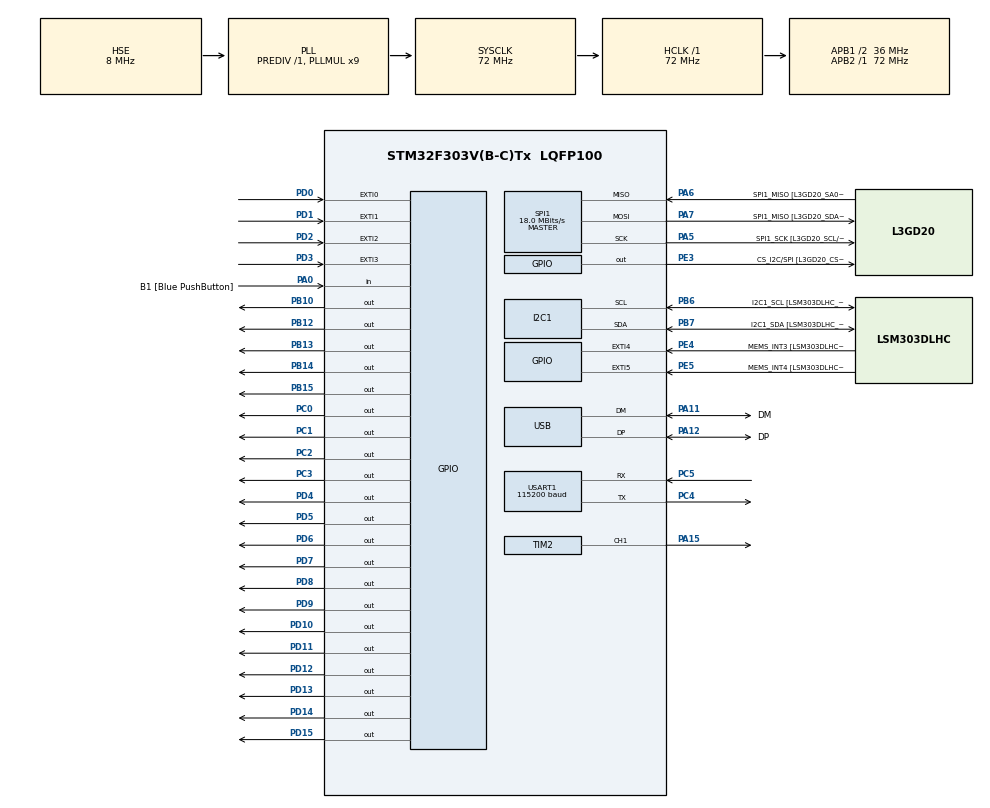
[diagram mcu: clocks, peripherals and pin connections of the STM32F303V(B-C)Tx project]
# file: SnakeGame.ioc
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I2C1.Timing-I2C=0x2000090E
Mcu.Family=STM32F3
Mcu.Name=STM32F303V(B-C)Tx
Mcu.Package=LQFP100
NVIC.EXTI0_IRQn=true\:1\:0\:true\:false\:true\:true\:true\:true
NVIC.EXTI1_IRQn=true\:1\:0\:true\:false\:true\:true\:true\:true
NVIC.EXTI2_TSC_IRQn=true\:1\:0\:true\:false\:true\:true\:true\:true
NVIC.EXTI3_IRQn=true\:1\:0\:true\:false\:true\:true\:true\:true
NVIC.PriorityGroup=NVIC_PRIORITYGROUP_4
NVIC.TIM1_UP_TIM16_IRQn=true\:4\:0\:true\:false\:true\:true\:true\:true
NVIC.TIM3_IRQn=true\:0\:0\:false\:false\:true\:true\:true\:true
NVIC.USART1_IRQn=true\:4\:0\:true\:false\:true\:true\:true\:true
PA0.GPIO_Label=B1 [Blue PushButton]
PA0.Signal=GPIO_Input
PA11.GPIO_Label=DM
PA11.Mode=Device
PA11.Signal=USB_DM
PA12.GPIO_Label=DP
PA12.Mode=Device
PA12.Signal=USB_DP
PA13.GPIO_Label=SWDIO
PA13.Mode=Serial_Wire
PA13.Signal=SYS_JTMS-SWDIO
PA14.GPIO_Label=SWCLK
PA14.Mode=Serial_Wire
PA14.Signal=SYS_JTCK-SWCLK
PA15.Signal=S_TIM2_CH1_ETR
PA5.GPIO_Label=SPI1_SCK [L3GD20_SCL/SPC]
PA5.Mode=Full_Duplex_Master
PA5.Signal=SPI1_SCK
PA6.GPIO_Label=SPI1_MISO [L3GD20_SA0/SDO]
PA6.Mode=Full_Duplex_Master
PA6.Signal=SPI1_MISO
PA7.GPIO_Label=SPI1_MISO [L3GD20_SDA/SDI/SDO]
PA7.Mode=Full_Duplex_Master
PA7.Signal=SPI1_MOSI
PB10.Signal=GPIO_Output
PB12.Signal=GPIO_Output
PB13.Signal=GPIO_Output
PB14.Signal=GPIO_Output
PB15.Signal=GPIO_Output
PB3.GPIO_Label=SWO
PB3.Signal=SYS_JTDO-TRACESWO
PB6.GPIO_Label=I2C1_SCL [LSM303DLHC_SCL]
PB6.GPIO_Pu=GPIO_PULLUP
PB6.Mode=I2C
PB6.Signal=I2C1_SCL
PB7.GPIO_Label=I2C1_SDA [LSM303DLHC_SDA]
PB7.GPIO_Pu=GPIO_PULLUP
PB7.Mode=I2C
PB7.Signal=I2C1_SDA
PC0.Signal=GPIO_Output
PC1.Signal=GPIO_Output
PC14-OSC32_IN.GPIO_Label=OSC32_IN
PC14-OSC32_IN.Signal=RCC_OSC32_IN
PC15-OSC32_OUT.GPIO_Label=OSC32_OUT
PC15-OSC32_OUT.Signal=RCC_OSC32_OUT
PC2.Signal=GPIO_Output
PC3.Signal=GPIO_Output
PC4.Mode=Asynchronous
PC4.Signal=USART1_TX
PC5.Mode=Asynchronous
PC5.Signal=USART1_RX
PD0.GPIO_ModeDefaultEXTI=GPIO_MODE_IT_RISING
PD0.GPIO_PuPd=GPIO_PULLDOWN
PD0.Signal=GPXTI0
PD1.GPIO_ModeDefaultEXTI=GPIO_MODE_IT_RISING
PD1.GPIO_PuPd=GPIO_PULLDOWN
PD1.Signal=GPXTI1
PD10.Signal=GPIO_Output
PD11.Signal=GPIO_Output
PD12.Signal=GPIO_Output
PD13.Signal=GPIO_Output
PD14.Signal=GPIO_Output
PD15.Signal=GPIO_Output
PD2.GPIO_ModeDefaultEXTI=GPIO_MODE_IT_RISING
PD2.GPIO_PuPd=GPIO_PULLDOWN
PD2.Signal=GPXTI2
PD3.GPIO_ModeDefaultEXTI=GPIO_MODE_IT_RISING
PD3.GPIO_PuPd=GPIO_PULLDOWN
PD3.Signal=GPXTI3
PD4.Signal=GPIO_Output
PD5.Signal=GPIO_Output
PD6.Signal=GPIO_Output
PD7.Signal=GPIO_Output
PD8.Signal=GPIO_Output
PD9.Signal=GPIO_Output
PE3.GPIO_Label=CS_I2C/SPI [L3GD20_CS_I2C/SPI]
PE3.Signal=GPIO_Output
PE4.GPIO_Label=MEMS_INT3 [LSM303DLHC_INT1]
PE4.GPIO_ModeDefaultEXTI=GPIO_MODE_EVT_RISING
PE4.Signal=GPXTI4
PE5.GPIO_Label=MEMS_INT4 [LSM303DLHC_INT2]
PE5.GPIO_ModeDefaultEXTI=GPIO_MODE_EVT_RISING
PE5.Signal=GPXTI5
PF0-OSC_IN.GPIO_Label=OSC_IN
PF0-OSC_IN.Mode=HSE-External-Clock-Source
PF0-OSC_IN.Signal=RCC_OSC_IN
PF1-OSC_OUT.GPIO_Label=OSC_OUT
PF1-OSC_OUT.Signal=RCC_OSC_OUT
ProjectManager.HeapSize=0x200
ProjectManager.StackSize=0x400
ProjectManager.TargetToolchain=STM32CubeIDE
RCC.AHBFreq_Value=72000000
RCC.APB1CLKDivider=RCC_HCLK_DIV2
RCC.APB1Freq_Value=36000000
RCC.APB1TimFreq_Value=72000000
RCC.APB2Freq_Value=72000000
RCC.APB2TimFreq_Value=72000000
RCC.CortexFreq_Value=72000000
RCC.HCLKFreq_Value=72000000
RCC.HSE_VALUE=8000000
RCC.HSI_VALUE=8000000
RCC.LSE_VALUE=32768
RCC.PLLMUL=RCC_PLL_MUL9
RCC.PRESCALERUSB=RCC_USBCLKSOURCE_PLL_DIV1_5
RCC.SYSCLKFreq_VALUE=72000000
RCC.SYSCLKSourceVirtual=RCC_SYSCLKSOURCE_PLLCLK
RCC.USBFreq_Value=48000000
RTC.AsynchPrediv=39
RTC.Date=3
RTC.Month=RTC_MONTH_JULY
RTC.SynchPrediv=999
RTC.Year=24
SH.S_TIM2_CH1_ETR.0=TIM2_CH1,PWM Generation1 CH1
SPI1.BaudRatePrescaler=SPI_BAUDRATEPRESCALER_4
SPI1.BaudRatePrescaler-Full_Duplex_Master=SPI_BAUDRATEPRESCALER_2
SPI1.CalculateBaudRate=18.0 MBits/s
SPI1.CalculateBaudRate-Full_Duplex_Master=24.0 MBits/s
SPI1.Direction=SPI_DIRECTION_2LINES
SPI1.Mode=SPI_MODE_MASTER
SPI1.Mode-Full_Duplex_Master=SPI_MODE_MASTER
SPI1.VirtualType=VM_MASTER
TIM1.Period=1
TIM1.Prescaler=479
TIM2.Channel-PWM\ Generation1\ CH1=TIM_CHANNEL_1
TIM3.Period=5
TIM3.Prescaler=4799
USART1.BaudRate=115200
USART1.VirtualMode-Asynchronous=VM_ASYNC
VP_RTC_VS_RTC_Activate.Mode=RTC_Enabled
VP_RTC_VS_RTC_Calendar.Mode=RTC_Calendar
VP_TIM1_VS_ClockSourceINT.Mode=Internal
VP_TIM2_VS_ClockSourceINT.Mode=Internal
VP_TIM3_VS_ClockSourceINT.Mode=Internal
board=STM32F3DISCOVERY

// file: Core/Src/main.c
/* USER CODE BEGIN Header */
/**
 ******************************************************************************
 * @file           : main.c
 * @brief          : Main program body
 ******************************************************************************
 * @attention
 *
 * Copyright (c) 2024 STMicroelectronics.
 * All rights reserved.
 *
 * This software is licensed under terms that can be found in the LICENSE file
 * in the root directory of this software component.
 * If no LICENSE file comes with this software, it is provided AS-IS.
 *
 ******************************************************************************
 */
/* USER CODE END Header */
#include "main.h"

/* USER CODE BEGIN Includes */
#include "LiquidCrystal.h"
#include "stdio.h"
#include "stdlib.h"
#include "time.h"
#include "music_library.h"
/* USER CODE END Includes */

/* USER CODE BEGIN PD */
#define DEBOUNCE_DELAY 350
#define DISPLAY_ON GPIO_PIN_RESET
#define DISPLAY_OFF GPIO_PIN_SET
/* USER CODE END PD */

I2C_HandleTypeDef hi2c1;

RTC_HandleTypeDef hrtc;

SPI_HandleTypeDef hspi1;

TIM_HandleTypeDef htim1;
TIM_HandleTypeDef htim2;
TIM_HandleTypeDef htim3;

UART_HandleTypeDef huart1;

PCD_HandleTypeDef hpcd_USB_FS;

/* USER CODE BEGIN PV */
struct digit {
	int number;
	uint16_t pattern;
	uint16_t anti_pattern;
};

struct RTC_Time {
	int hour;
	int minute;
	int second;
};

struct RTC_Time effect_time;

typedef unsigned char byte;
byte head[4][8] = { { 0x00, 0x00, 0x0E, 0x11, 0x11, 0x1B, 0x11, 0x1F }, { 0x1F,
		0x11, 0x1B, 0x11, 0x11, 0x0E, 0x00, 0x00 }, { 0x1C, 0x12, 0x15, 0x11,
		0x11, 0x15, 0x12, 0x1C }, { 0x07, 0x09, 0x15, 0x11, 0x11, 0x15, 0x09,
		0x07 } };

byte body[8] = { 0x1F, 0x15, 0x17, 0x1D, 0x17, 0x1D, 0x15, 0x1F };

byte apple[8] = { 0x00, 0x08, 0x04, 0x0E, 0x17, 0x1F, 0x1F, 0x0E };

byte wall[8] = { 0x0E, 0x04, 0x04, 0x04, 0x04, 0x04, 0x04, 0x0E };

byte heal[8] = { 0x00, 0x00, 0x0A, 0x1F, 0x1F, 0x0E, 0x04, 0x00 };

byte lucky_box[8] = { 0x00, 0x0A, 0x04, 0x1F, 0x15, 0x1F, 0x15, 0x1F };

const int GAME_WIDTH = 20;
const int GAME_HEIGHT = 4;

int highScore = 0;
int currentScore = 0;

extern int isSfx;

int carrier[] = { 0, 0, 0, 0 };

enum GameState {
	MENU, OPTIONS, GAME, GAMEOVER
};
enum GameState gameState = MENU;

struct Settings {
	int wallCollision;
	int health;
	int speed;
	int soundOn;
	int obstacleCount;
	int gameMode;
	int appleSpawnTime;
};

struct Settings settings;
int currentHealth = 0;
enum OptionsEnumerator {
	ABOUT, SETTINGS, MOD, START, NONE
};

enum OptionsEnumerator optionsEnumerator = ABOUT;
enum OptionsEnumerator currentOption = NONE;

enum Direction {
	UP, DOWN, LEFT, RIGHT
};

enum CollisionMask {
	SNAKE, APPLE, WALL, HEAL, OBSTACLE, BOX, NO_COLLISION
};

enum Effect {
	NOEFFECT, SPEED, SCORE, HEALTH
};

enum Effect effect = NOEFFECT;
enum Direction direction = RIGHT;
enum Direction prevDirection = UP;

int movementCoolDown = 0;

typedef struct {
	int x;
	int y;
} Point;

Point foodPosition;
Point medkit;
Point box;

Point wallPositions[6];

struct Node {
	Point point;
	Point prevPoint;
	struct Node *next;
	struct Node *prev;
};

struct Node *snakeHead;

struct Node* createNode(int x, int y) {
	struct Node *newNode = (struct Node*) malloc(sizeof(struct Node));
	newNode->point.x = x;
	newNode->point.y = y;
	newNode->next = NULL;
	newNode->prev = NULL;
	return newNode;
}

void append(struct Node **head, int x, int y) {
	struct Node *newNode = createNode(x, y);
	if (*head == NULL) {
		*head = newNode;
		return;
	}
	struct Node *temp = *head;
	while (temp->next != NULL) {
		temp = temp->next;
	}
	temp->next = newNode;
	newNode->prev = temp;
}

void deleteTail(struct Node **head) {
	if (*head == NULL)
		return;
	struct Node *temp = *head;
	while (temp->next != NULL) {
		temp = temp->next;
	}
	if (temp->prev != NULL) {
		temp->prev->next = NULL;
	} else {
		*head = NULL;
	}
	free(temp);
}

void deleteSnakeExceptHead(struct Node **head) {
	if (*head == NULL || (*head)->next == NULL)
		return;

	struct Node *current = (*head)->next;
	struct Node *nextNode;

	while (current != NULL) {
		nextNode = current->next;
		free(current);
		current = nextNode;
	}

	(*head)->next = NULL;
}

void updateBody() {
	struct Node *node = snakeHead->next; // Start from the second segment
	setCursor(snakeHead->point.x, snakeHead->point.y);
	write(1); // Draw the head at its new position
	setCursor(node->prev->prevPoint.x, node->prev->prevPoint.y);
	write(0);

	// Move each segment to the position of the previous segment
	while (node != NULL) {
		if (node->next == NULL) {
			setCursor(node->point.x, node->point.y);
			print(" "); // Clear the previous position
		}

		// Save current position before moving
		node->prevPoint.x = node->point.x;
		node->prevPoint.y = node->point.y;

		// Move to the previous segment's previous position
		if (node->prev != NULL) {
			node->point.x = node->prev->prevPoint.x;
			node->point.y = node->prev->prevPoint.y;
		}
		node = node->next;
	}
}

void growSnake() {
	// Add a new segment to the snake at the tail's previous position
	struct Node *tail = snakeHead;
	while (tail->next != NULL) {
		tail = tail->next;
	}
	append(&snakeHead, tail->prevPoint.x, tail->prevPoint.y);
	generateApple();
	currentScore += 1;
	if (settings.soundOn) {
		isSfx = 1;
	}

	if (currentScore < 100) {
		int score[2];
		score[0] = carrier[0];
		score[1] = carrier[1];
		int num = score[0] * 10 + carrier[1];
		if (effect == SCORE)
			num += 2;
		else
			num += 1;
		carrier[0] = num / 10;
		carrier[1] = num % 10;
	}
}

int isPointInSnake(int x, int y) {
	struct Node *temp = snakeHead;
	while (temp != NULL) {
		if (temp->point.x == x && temp->point.y == y) {
			return 1;
		}
		temp = temp->next;
	}
	return 0;
}

int isPointWall(int x, int y) {
	for (int i = 0; i < settings.obstacleCount; i++) {
		if (wallPositions[i].x == x && wallPositions[i].y == y)
			return 1;
	}
	return 0;
}

int isPointApple(int x, int y) {
	if (foodPosition.x == x && foodPosition.y == y) {
		return 1;
	}
	return 0;
}

int isPointBox(int x, int y) {
	if (box.x == x && box.y == y) {
		return 1;
	}
	return 0;
}

int isPointUI(int x, int y) {
	if (y == 0 && (x >= 0 && x <= 14))
		return 1;
	return 0;
}

void generateApple() {
	RTC_TimeTypeDef my_time;
	HAL_RTC_GetTime(&hrtc, &my_time, RTC_FORMAT_BIN);

	setCursor(foodPosition.x, foodPosition.y);
	print(" ");

	srand((my_time.Seconds) + 1 * (my_time.Minutes + 1));
	int x, y;
	Point temp;
	do {
		x = rand() % GAME_WIDTH;
		y = rand() % GAME_HEIGHT;
		temp.x = x;
		temp.y = y;
	} while (isPointInSnake(x, y) || isPointWall(x, y) || isPointBox(x, y)
			|| isCollidingWithHeal(temp) || isPointUI(x, y)); // Ensure apple is not on the snake's body

	foodPosition.x = x;
	foodPosition.y = y;

	// Draw the apple on the game board
	setCursor(foodPosition.x, foodPosition.y);
	write(3);
}

void generateAMedkit() {
	RTC_TimeTypeDef my_time;
	HAL_RTC_GetTime(&hrtc, &my_time, RTC_FORMAT_BIN);

	setCursor(medkit.x, medkit.y);
	print(" ");

	srand((my_time.Seconds) + 1 * (my_time.Minutes + 1));
	int x, y;
	Point temp;
	do {
		x = rand() % GAME_WIDTH;
		y = rand() % GAME_HEIGHT;
		temp.x = x;
		temp.y = y;
	} while (isPointInSnake(x, y) || isPointWall(x, y) || isPointBox(x, y)
			|| isCollidingWithFood(temp) || isPointUI(x, y));

	medkit = temp;

	setCursor(medkit.x, medkit.y);
	write(5);
}

void generateBox() {
	RTC_TimeTypeDef my_time;
	HAL_RTC_GetTime(&hrtc, &my_time, RTC_FORMAT_BIN);

	setCursor(box.x, box.y);
	print(" ");

	srand((my_time.Seconds) + 1 * (my_time.Minutes + 1));
	int x, y;
	Point temp;
	do {
		x = rand() % GAME_WIDTH;
		y = rand() % GAME_HEIGHT;
		temp.x = x;
		temp.y = y;
	} while (isPointInSnake(x, y) || isPointWall(x, y)
			|| isCollidingWithFood(temp) || isPointUI(x, y));

	box = temp;

	setCursor(box.x, box.y);
	write(6);
}

void generateWalls(int maxWalls, int mode) {
	if (maxWalls == 0) {
		return;
	}

	RTC_TimeTypeDef my_time;
	HAL_RTC_GetTime(&hrtc, &my_time, RTC_FORMAT_BIN);

	srand((my_time.Seconds) + 1 * (my_time.Minutes + 1));

	for (int i = 0; i < maxWalls; i++) {
		if (mode == 1) {
			i = rand() % settings.obstacleCount;
		}
		setCursor(wallPositions[i].x, wallPositions[i].y);
		print(" ");

		int x, y;
		do {
			x = rand() % GAME_WIDTH;
			y = rand() % GAME_HEIGHT;
		} while (isPointInSnake(x, y) || isPointApple(x, y) || isPointBox(x, y)
				|| isPointUI(x, y) || isPointWall(x, y));

		wallPositions[i].x = x;
		wallPositions[i].y = y;

		// Draw the apple on the game board
		setCursor(wallPositions[i].x, wallPositions[i].y);
		write(4);
	}
}

void redraw_walls() {
	for (int i = 0; i < settings.obstacleCount; i++) {
		setCursor(wallPositions[i].x, wallPositions[i].y);
		write(4);
	}
}

void move_in_direction(enum Direction dir) {
	// Update snake head's previous position
	Point temp = snakeHead->point;
	snakeHead->prevPoint = snakeHead->point;

	// Update snake head's position based on direction
	switch (dir) {
	case UP:
		if (prevDirection != DOWN) {
			snakeHead->point.y -= 1;
			if (dir != prevDirection)
				createChar(1, head[0]);
		}
		break;
	case DOWN:
		if (prevDirection != UP) {
			snakeHead->point.y += 1;
			if (dir != prevDirection)
				createChar(1, head[1]);
		}
		break;
	case RIGHT:
		if (prevDirection != LEFT) {
			snakeHead->point.x += 1;
			if (dir != prevDirection)
				createChar(1, head[2]);
		}
		break;
	case LEFT:
		if (prevDirection != RIGHT) {
			snakeHead->point.x -= 1;
			if (dir != prevDirection)
				createChar(1, head[3]);
		}
		break;
	}

	// Update the current direction
	if (prevDirection != dir)
		prevDirection = dir;

	// Detect collision
	enum CollisionMask collision = CollisionDetector();

	// Handle collision based on its type
	switch (collision) {
	case WALL:
		// Handle wall collision

		if (snakeHead->point.x < 0) {
			snakeHead->point.x = GAME_WIDTH - 1;
		} else if (snakeHead->point.x >= GAME_WIDTH) {
			snakeHead->point.x = 0;
		} else if (snakeHead->point.y < 0) {
			snakeHead->point.y = GAME_HEIGHT - 1;
		} else if (snakeHead->point.y >= GAME_HEIGHT) {
			snakeHead->point.y = 0;
		}
		if (settings.wallCollision) {
			if (currentHealth == 1) {
				gameover(); // Assume this function handles game over scenario
			} else {
				if (settings.soundOn) {
					isSfx = 2;
				}
				currentHealth--;
			}
		}
		break;
	case OBSTACLE:
		redraw_walls();
		if (currentHealth == 1) {
			gameover(); // Assume this function handles game over scenario
		} else {
			if (settings.soundOn) {
				isSfx = 2;
			}
			currentHealth--;
			direction = change_direction(temp);
			move_in_direction(direction);
			return;
		}
		break;
	case SNAKE:
		if (settings.soundOn) {
			isSfx = 2;
		}
		if (currentHealth == 1) {
			gameover(); // Assume this function handles game over scenario
		} else {
			currentHealth--;
			direction = change_direction(temp);
			move_in_direction(direction);
			return;
		}
		break;
	case APPLE:
		// Handle apple collision (e.g., grow the snake, update score)
		if (movementCoolDown < 0)
			movementCoolDown = 0;
		growSnake();
		break;
	case HEAL:
		if (currentHealth < 9) {
			currentHealth++;
			if (settings.soundOn) {
				isSfx = 1;
			}
		}
		medkit.x = -1;
		medkit.y = -1;
		break;
	case BOX:
		if (settings.soundOn) {
			isSfx = 1;
		}
		RTC_TimeTypeDef my_time;
		HAL_RTC_GetTime(&hrtc, &my_time, RTC_FORMAT_BIN);

		effect_time.hour = my_time.Hours;
		effect_time.minute = my_time.Minutes;
		effect_time.second = my_time.Seconds;

		srand((my_time.Seconds) + 1 * (my_time.Minutes + 1));
		int random = 0;
		do {
			random = rand() % 4;
		} while (random == 0);

		effect = random;
		if (effect == HEALTH) {
			if (currentHealth < 9) {
				currentHealth++;
			}
			effect = NOEFFECT;
		}

		box.x = -1;
		box.y = -1;

		break;
	default:
		break;
	}

// Update the snake's body
	updateBody();
}

int change_direction(Point prev) {
	Point temp;
	switch (prevDirection) {
	case UP:
	case DOWN:
		if (!isPointWall(snakeHead->point.x + 1, snakeHead->point.y)) {
			temp = prev;
			temp.x += 1;
			if (!isCollidingWithSelf(temp)) {
				snakeHead->point = prev;
				return RIGHT;
			}
		}
		if (!isPointWall(snakeHead->point.x - 1, snakeHead->point.y)) {
			temp = prev;
			temp.x -= 1;
			if (!isCollidingWithSelf(temp)) {
				snakeHead->point = prev;
				return LEFT;
			}
		}
		break;

	case RIGHT:
	case LEFT:
		if (!isPointWall(snakeHead->point.x, snakeHead->point.y - 1)) {
			temp = prev;
			temp.y -= 1;
			if (!isCollidingWithSelf(temp)) {
				snakeHead->point = prev;
				return UP;
			}
		}
		if (!isPointWall(snakeHead->point.x, snakeHead->point.y + 1)) {
			temp = prev;
			temp.y += 1;
			if (!isCollidingWithSelf(temp)) {
				snakeHead->point = prev;
				return DOWN;
			}
		}
		break;
	}
	gameover();
	return RIGHT;
}

int isCollidingWithWall(Point point) {
	return (point.x < 0 || point.x >= GAME_WIDTH)
			|| (point.y < 0 || point.y >= GAME_HEIGHT);
}

int isCollidingWithSelf(Point point) {
	struct Node *temp = snakeHead->next; // Skip the head
	while (temp != NULL) {
		if (temp->point.x == point.x && temp->point.y == point.y) {
			return 1;
		}
		temp = temp->next;
	}
	return 0;
}

int isCollidingWithFood(Point point) {
	return point.x == foodPosition.x && point.y == foodPosition.y;
}

int isCollidingWithHeal(Point point) {
	return point.x == medkit.x && point.y == medkit.y;
}
int isCollidingWithObstacle(Point point) {
	for (int i = 0; i < settings.obstacleCount; i++) {
		if (point.x == wallPositions[i].x && point.y == wallPositions[i].y) {
			return 1;
		}
	}
	return 0;
}

int CollisionDetector() {
	enum CollisionMask collision = NO_COLLISION;

	if (isCollidingWithWall(snakeHead->point)) {
		collision = WALL;
	} else if (isCollidingWithSelf(snakeHead->point)) {
		collision = SNAKE;
	} else if (isCollidingWithFood(snakeHead->point)) {
		collision = APPLE;
	} else if (isCollidingWithHeal(snakeHead->point)) {
		collision = HEAL;
	} else if (isCollidingWithObstacle(snakeHead->point)) {
		collision = OBSTACLE;
	} else if (isPointBox(snakeHead->point.x, snakeHead->point.y)) {
		collision = BOX;
	}

	return collision;
}

int game_ready = 0;
int frame = 0;
int prev_frame = 0;

struct RTC_Time start_time;
struct RTC_Time speed_increase_time;
struct RTC_Time apple_spawn_time;
struct RTC_Time heal_spawn_time;
struct RTC_Time heal_despawn_time;
struct RTC_Time box_spawn_time;
struct RTC_Time box_despawn_time;
struct RTC_Time wall_spawn_time;

int game_paused = 0;
int paused = 0;
int is_dead = 0;
int in_menu = 1;
int medkitSpawned = 0;
int boxSpawned = 0;

//Seven-Segment
int index = 0;
uint16_t led[4];
struct digit digits[10];

extern struct Dictionary *playlist;
extern char **playlistOrder;
int playedCount = 0, currentMusic = 0, adc_select = 0;

extern volatile uint16_t volume;
struct Tone *melody;

enum ProgramMode {
	Shuffle, Liner
};
enum ProgramMode programMode = Liner;
/* USER CODE END PV */

void SystemClock_Config(void);
static void MX_GPIO_Init(void);
static void MX_I2C1_Init(void);
static void MX_SPI1_Init(void);
static void MX_USB_PCD_Init(void);
static void MX_TIM1_Init(void);
static void MX_TIM2_Init(void);
static void MX_RTC_Init(void);
static void MX_USART1_UART_Init(void);
static void MX_TIM3_Init(void);
/* USER CODE BEGIN PFP */

int compareStrings(const char *str1, const uint8_t *str2, int n) {
	for (int i = 0; i < n; i++) {
		if (str1[i] != str2[i]) {
			return 0;
		}
	}
	return 1;
}

int setting_threshold = 0;

char done[4] = "done";

char username[15];

uint8_t data[100];
uint8_t d;
uint8_t i;

void set_sound(int value) {
	if (value >= 0 && value <= 1) {
		settings.soundOn = value;
		char ack[] = "Sound setting updated\n";
		HAL_UART_Transmit_IT(&huart1, (uint8_t*) ack, strlen(ack));
	} else {
		char ack[] = "Invalid sound value\n";
		HAL_UART_Transmit_IT(&huart1, (uint8_t*) ack, strlen(ack));
	}
}

void set_health(int value) {
	if (value >= 1 && value <= 6) {
		settings.health = value;
		char ack[] = "Health setting updated\n";
		HAL_UART_Transmit_IT(&huart1, (uint8_t*) ack, strlen(ack));
	} else {
		char ack[] = "Invalid health value\n";
		HAL_UART_Transmit_IT(&huart1, (uint8_t*) ack, strlen(ack));
	}
}

void set_obstacle_count(int value) {
	if (value >= 0 && value <= 6) {
		settings.obstacleCount = value;
		char ack[] = "Obstacle count updated\n";
		HAL_UART_Transmit_IT(&huart1, (uint8_t*) ack, strlen(ack));
	} else {
		char ack[] = "Invalid obstacle count value\n";
		HAL_UART_Transmit_IT(&huart1, (uint8_t*) ack, strlen(ack));
	}
}

void set_speed(int value) {
	if (value >= 1 && value <= 3) {
		settings.speed = value;
		char ack[] = "Speed setting updated\n";
		HAL_UART_Transmit_IT(&huart1, (uint8_t*) ack, strlen(ack));
	} else {
		char ack[] = "Invalid speed value\n";
		HAL_UART_Transmit_IT(&huart1, (uint8_t*) ack, strlen(ack));
	}
}

void set_game_mode(int value) {
	if (value >= 1 && value <= 3) {
		settings.gameMode = value;
		char ack[] = "Game mode updated\n";
		HAL_UART_Transmit_IT(&huart1, (uint8_t*) ack, strlen(ack));
	} else {
		char ack[] = "Invalid game mode value\n";
		HAL_UART_Transmit_IT(&huart1, (uint8_t*) ack, strlen(ack));
	}
}

void set_username(const char *new_username) {
	strncpy(username, new_username, sizeof(username) - 1);
	username[sizeof(username) - 1] = '\0';
	char ack[] = "Username updated\n";
	HAL_UART_Transmit_IT(&huart1, (uint8_t*) ack, strlen(ack));
}

void HAL_UART_RxCpltCallback(UART_HandleTypeDef *huart) {
	if (huart->Instance == USART1) {
		HAL_UART_Receive_IT(&huart1, &d, 1);
		data[i++] = d;
		if (d == '\n') {
			data[i] = '\0';
			char *command = strtok((char*) data, "(");
			char *value = strtok(NULL, ")");

			if (command && value) {
				if (gameState == OPTIONS && currentOption == SETTINGS
						|| currentOption == MOD) {
					if (currentOption == OPTIONS) {
						if (strcmp(command, "set_name") == 0) {
							set_username(value);
						} else if (strcmp(command, "set_sound") == 0) {
							set_sound(atoi(value));
							char sn[16];
							i = settings.soundOn;
							snprintf(sn, sizeof(sn), "1-SFX         %d", i);
							setCursor(4, 2);
							print(sn);
						} else if (strcmp(command, "set_health") == 0) {
							set_health(atoi(value));
							char hp[16];
							int i = settings.health;
							snprintf(hp, sizeof(hp), "1-Health      %d", i);
							setCursor(4, 0);
							print(hp);
						} else if (strcmp(command, "set_obstacle_count") == 0) {
							set_obstacle_count(atoi(value));
							setCursor(4, 3);
							char wl[16];
							i = settings.obstacleCount;
							snprintf(wl, sizeof(wl), "1-Wall Count  %d", i);
							print(wl);
						} else if (strcmp(command, "set_speed") == 0) {
							set_speed(atoi(value));
							char sp[16];
							i = settings.speed;
							snprintf(sp, sizeof(sp), "1-Speed       %d", i);
							setCursor(4, 1);
							print(sp);
						} else if (strcmp(command, "set_game_mode") == 0) {
							set_game_mode(atoi(value));
							char sp[16];
							int i = settings.gameMode;
							snprintf(sp, sizeof(sp), "1-Game Mode   %d", i);
							setCursor(2, 1);
							print(sp);
						}
					}
				} else {
					char ack[] = "ERROR\n";
					HAL_UART_Transmit_IT(&huart1, (uint8_t*) ack, strlen(ack));
					i = 0;
					return;
				}
			}

			i = 0; // Reset the buffer index
		}
	}
}
void HAL_TIM_PeriodElapsedCallback(TIM_HandleTypeDef *htim) {
	if (htim->Instance == TIM1) {
		if (game_ready) {
			if (game_paused) {
				game_paused = 0;
				if (!paused) {
					paused = 1;
					setCursor(0, 0);
					print("II ");
				} else {
					paused = 0;
				}
			}

			if (!paused) {

				RTC_TimeTypeDef my_time;
				HAL_RTC_GetTime(&hrtc, &my_time, RTC_FORMAT_BIN);
				struct RTC_Time temp;
				temp.hour = my_time.Hours;
				temp.minute = my_time.Minutes;
				temp.second = my_time.Seconds;

				if (settings.gameMode == 3) {

					int diffrance = calculate_time_difference(
							speed_increase_time, temp);
					if (diffrance > 5) {
						movementCoolDown -= 100;
						speed_increase_time.hour = my_time.Hours;
						speed_increase_time.minute = my_time.Minutes;
						speed_increase_time.second = my_time.Seconds;
					}

				}

				if (currentScore > highScore)
					highScore = currentScore;

				int movementFactor = 0;
				if (effect == SPEED)
					movementFactor = 500;

				if (frame - prev_frame > movementCoolDown - movementFactor) {
					move_in_direction(direction);
					prev_frame = frame;
					char hp[4];
					sprintf(hp, "HP%d", currentHealth);
					setCursor(0, 0);
					print(hp);

					if (effect != NOEFFECT) {
						setCursor(3, 0);
						if (effect == SPEED) {
							print(">>");
						} else if (effect == SCORE) {
							print("2X");
						}

						if (calculate_time_difference(effect_time, temp) > 10) {
							effect = NOEFFECT;
							setCursor(3, 0);
							print("  ");
						}
					}

					uint32_t current_tick = HAL_GetTick();
				}
				if (calculate_time_difference(wall_spawn_time, temp) > 30) {
					generateWalls(1, 1);
					wall_spawn_time.hour = my_time.Hours;
					wall_spawn_time.minute = my_time.Minutes;
					wall_spawn_time.second = my_time.Seconds;
				}

				if (calculate_time_difference(apple_spawn_time, temp)
						> settings.appleSpawnTime) {
					apple_spawn_time.hour = my_time.Hours;
					apple_spawn_time.minute = my_time.Minutes;
					apple_spawn_time.second = my_time.Seconds;
					generateApple();
				}
				if (calculate_time_difference(heal_spawn_time, temp) > 10) {
					if (!medkitSpawned) {
						generateAMedkit();
						medkitSpawned = 1;
						heal_despawn_time.hour = my_time.Hours;
						heal_despawn_time.minute = my_time.Minutes;
						heal_despawn_time.second = my_time.Seconds;
					}

					if (calculate_time_difference(heal_despawn_time, temp)
							> 5) {
						medkitSpawned = 0;

						setCursor(medkit.x, medkit.y);
						print(" ");
						medkit.x = -1;
						medkit.y = -1;

						heal_spawn_time.hour = my_time.Hours;
						heal_spawn_time.minute = my_time.Minutes;
						heal_spawn_time.second = my_time.Seconds;

					}
				}

				if (calculate_time_difference(box_spawn_time, temp) > 60) {
					if (!boxSpawned) {
						generateBox();
						boxSpawned = 1;
						box_despawn_time.hour = my_time.Hours;
						box_despawn_time.minute = my_time.Minutes;
						box_despawn_time.second = my_time.Seconds;
					}

					if (calculate_time_difference(box_despawn_time, temp)
							> 15) {
						boxSpawned = 0;

						setCursor(box.x, box.y);
						print(" ");
						box.x = -1;
						box.y = -1;

						box_spawn_time.hour = my_time.Hours;
						box_spawn_time.minute = my_time.Minutes;
						box_spawn_time.second = my_time.Seconds;

					}
				}

				int num = calculate_time_difference(start_time, temp);
				if (num > 99) {
					start_time.hour = my_time.Hours;
					start_time.minute = my_time.Minutes;
					start_time.second = my_time.Seconds;
					num = 0;
				}
				carrier[3] = num % 10;
				carrier[2] = num / 10;
				frame++;
			}

			if (gameState == MENU) {
				clear();
				menu();
				return;
			} else if (game_ready == 0) {
				clear();
				gameover();
			}
		}

		if (gameState == OPTIONS) {
			if (currentOption == ABOUT) {
				RTC_TimeTypeDef my_time;
				HAL_RTC_GetTime(&hrtc, &my_time, RTC_FORMAT_BIN);
				RTC_DateTypeDef my_date;
				HAL_RTC_GetDate(&hrtc, &my_date, RTC_FORMAT_BIN);

				char time_string[20];
				int hour = my_time.Hours;
				int min = my_time.Minutes;
				int sec = my_time.Seconds;

				char date_string[20];
				int year = my_date.Year;
				int month = my_date.Month;
				int date = my_date.Date;

				snprintf(time_string, sizeof(time_string),
						"TIME(%02d:%02d:%02d)", hour, min, sec);
				snprintf(date_string, sizeof(date_string),
						"DATE(%02d:%02d:%02d)", year, month, date);
				setCursor(3, 2);
				print(date_string);
				setCursor(3, 3);
				print(time_string);
				if (currentOption == NONE)
					show_options();
			}

		}
	} else if (htim->Instance == TIM3) {
		static int index = 0;
		if (index > 3) {
			init_display();
			index = 0;
		}
		display_number(index, carrier[index]);
		index++;
	}
}

/* USER CODE END PFP */

/* USER CODE BEGIN 0 */

void display_number(int led_flag, int _number) {
	HAL_GPIO_WritePin(GPIOD,
	GPIO_PIN_4 | GPIO_PIN_5 | GPIO_PIN_6 | GPIO_PIN_7, GPIO_PIN_SET);
	HAL_GPIO_WritePin(GPIOD, led[led_flag], DISPLAY_ON);
	if (led_flag == 1)
		HAL_GPIO_WritePin(GPIOB, GPIO_PIN_10, GPIO_PIN_SET);
	else {
		HAL_GPIO_WritePin(GPIOB, GPIO_PIN_10, GPIO_PIN_RESET);
	}
	if (_number != 0) {
		HAL_GPIO_WritePin(GPIOB, digits[_number].pattern, GPIO_PIN_SET);
	}
	HAL_GPIO_WritePin(GPIOB, digits[_number].anti_pattern, GPIO_PIN_RESET);
}

void init_display() {
	HAL_GPIO_WritePin(GPIOD,
	GPIO_PIN_4 | GPIO_PIN_5 | GPIO_PIN_6 | GPIO_PIN_7, GPIO_PIN_SET);
	HAL_GPIO_WritePin(GPIOB,
	GPIO_PIN_10, GPIO_PIN_SET);
}

int digit_count(int val) {
	if (val == 0)
		return 1;
	int size = 0;
	int temp = val;

	while (temp > 0) {
		temp /= 10;
		size++;
	}
	return size;
}

void extract_int_to_carrier(int val) {
	int i;
	i = digit_count(val) - 1;

	while (val > 0) {
		carrier[i--] = val % 10;
		val /= 10;
	}
}

int array_to_number(int *array, int size) {
	int number = 0;
	for (int i = 0; i < size; i++) {
		number = number * 10 + array[i];
	}
	return number;
}

int generate_random_int(int limit) {
	int random_number;
	return random_number = rand() % limit;
}

void set_music(int num) {
	int toneCount;
	struct DictionaryNode *node;
	melody = lookup(playlist, playlistOrder[num - 1], &toneCount, &node);
	Change_Melody(melody, toneCount);
	currentMusic = num;
	playedCount = num;
	unsetBlacklisted(node);
}

int choice_indx = -1;
void increment_choice() {
	if (currentOption == NONE) {
		setCursor(3, optionsEnumerator++);
		print(" ");
		if (optionsEnumerator > 3)
			optionsEnumerator = 0;
		setCursor(3, optionsEnumerator);
		write(2);
	} else {
		if (currentOption == SETTINGS) {
			handle_sub_menu(3, 1);
		}
	}

}

void handle_sub_menu(int higherBound, int modifier) {
	if (modifier > 0) {
		setCursor(3, choice_indx++);
		print(" ");
		if (choice_indx > higherBound)
			choice_indx = 0;
		setCursor(3, choice_indx);
		write(2);
	} else {
		setCursor(3, choice_indx--);
		print(" ");
		if (choice_indx < 0)
			choice_indx = higherBound;
		setCursor(3, choice_indx);
		write(2);
	}
}

void decrement_choice() {
	if (currentOption == NONE) {
		setCursor(3, optionsEnumerator--);
		print(" ");
		if (optionsEnumerator == 255)
			optionsEnumerator = 3;
		setCursor(3, optionsEnumerator);
		write(2);
	} else {
		if (currentOption == SETTINGS) {
			handle_sub_menu(3, -1);
		}

	}
}

void handle_menu_choice(int modifier) {
	currentOption = optionsEnumerator;

	switch (currentOption) {
	case ABOUT:
		clear();
		setCursor(3, 0);
		print("Yasin Shabani");
		setCursor(3, 1);
		print("Amir Shariati");
		break;

	case SETTINGS:
		switch (choice_indx) {
		case 0:
			if ((modifier < 0 && settings.health > 1)
					|| (modifier > 0 && settings.health < 6)) {
				settings.health += modifier;
				char hp[16];
				int i = settings.health;
				snprintf(hp, sizeof(hp), "1-Health      %d", i);
				setCursor(4, 0);
				print(hp);
			}
			break;
		case 1:
			if ((modifier < 0 && settings.speed > 1)
					|| (modifier > 0 && settings.speed < 3)) {
				settings.speed += modifier;
				char sp[16];
				i = settings.speed;
				snprintf(sp, sizeof(sp), "1-Speed       %d", i);
				setCursor(4, 1);
				print(sp);
			}
			break;
		case 2:
			if (modifier < 0) {
				settings.soundOn = 0;
			} else {
				settings.soundOn = 1;
			}
			char sn[16];
			i = settings.soundOn;
			snprintf(sn, sizeof(sn), "1-SFX         %d", i);
			setCursor(4, 2);
			print(sn);
			break;

		case 3:
			if ((modifier < 0 && settings.obstacleCount > 1)
					|| (modifier > 0 && settings.obstacleCount < 6)) {
				settings.obstacleCount += modifier;
				setCursor(4, 3);
				char wl[16];
				i = settings.obstacleCount;
				snprintf(wl, sizeof(wl), "1-Wall Count  %d", i);
				print(wl);
			}
		default:
			break;
		}

		if (choice_indx == -1) {
			char hp[16];
			int i = settings.health;
			snprintf(hp, sizeof(hp), "1-Health      %d", i);
			clear();
			setCursor(4, 0);
			print(hp);
			setCursor(4, 1);
			char sp[16];
			i = settings.speed;
			snprintf(sp, sizeof(sp), "1-Speed       %d", i);
			print(sp);
			setCursor(4, 2);
			char sn[16];
			i = settings.speed;
			snprintf(sn, sizeof(sn), "1-SFX         %d", i);
			print(sn);
			setCursor(4, 3);
			char wl[16];
			i = settings.obstacleCount;
			snprintf(wl, sizeof(wl), "1-Wall Count  %d", i);
			print(wl);
			choice_indx = 0;
		}
		break;

	case MOD:
		if (choice_indx == -1) {
			clear();
			char sp[16];
			int i = settings.gameMode;
			snprintf(sp, sizeof(sp), "1-Game Mode   %d", i);
			setCursor(2, 1);
			print(sp);
			choice_indx = 0;
		} else {
			if ((modifier < 0 && settings.gameMode > 1)
					|| (modifier > 0 && settings.gameMode < 3)) {
				settings.gameMode += modifier;
				char sp[16];
				int i = settings.gameMode;
				snprintf(sp, sizeof(sp), "1-Game Mode   %d", i);
				setCursor(2, 1);
				print(sp);
			}
		}
		break;

	case START:
		start_game();
		break;
	}
}

void show_options() {
	createChar(0, body);
	createChar(3, apple);
	createChar(4, wall);
	createChar(5, heal);
	createChar(6, lucky_box);

	choice_indx = -1;
	currentOption = NONE;
	optionsEnumerator = ABOUT;
	clear();
	setCursor(4, 0);
	print("1-About Us");
	setCursor(4, 1);
	print("2-Settings");
	setCursor(4, 2);
	print("3-Game Mode");
	setCursor(4, 3);
	print("4-Start Game");
//create arrow
	byte arrow[8] = { 0x00, 0x00, 0x04, 0x02, 0x1F, 0x02, 0x04, 0x00 };
	createChar(2, arrow);
	gameState = OPTIONS;
}

void onDeath() {
    struct Node *current = snakeHead;
    while (current != NULL) {
        setCursor(current->point.x, current->point.y);
        print(" ");
        current = current->next;
        HAL_Delay(50);
    }
}

void gameover() {
	onDeath();

	if (settings.soundOn) {
		isSfx = 3;
	}

	game_ready = 0;
	is_dead = 1;
	volume = 1;
	int score = currentScore;
	frame = 0;

	RTC_TimeTypeDef my_time;
	HAL_RTC_GetTime(&hrtc, &my_time, RTC_FORMAT_BIN);

	clear();

	char msg[20];
	sprintf(msg, "Score: %d", score);
	setCursor(2, 1);
	print(msg);
	setCursor(2, 2);
	print(username);

	setCursor(14, 1);
	print("GAME");
	setCursor(14, 2);
	print("OVER");
	set_music(6);

	char time_string[20];
	int hour = my_time.Hours;
	int min = my_time.Minutes;
	int sec = my_time.Seconds;
	snprintf(time_string, sizeof(time_string), "DIED AT (%02d:%02d:%02d)\n",
			hour, min, sec);

	HAL_UART_Transmit(&huart1, time_string, 20, HAL_MAX_DELAY);

}

void start_game() {
// Reset game-specific variables
	for (int i = 0; i < 4; i++) {
		carrier[i] = 0;
	}
	effect = NOEFFECT;
	currentHealth = settings.health;
	currentScore = 0;
	volume = 1;
	set_music(3);
	in_menu = 0;
	is_dead = 0;
	game_paused = 0;
	paused = 0;
	frame = settings.appleSpawnTime;
	prev_frame = 0;
	direction = RIGHT;
	prevDirection = UP;
	box.x = -1;
	box.y = -1;
	medkit.x = -1;
	medkit.y = -1;

// Set movement cooldown based on speed setting
	if (settings.speed == 1) {
		movementCoolDown = 2000;
		settings.appleSpawnTime = 7;
	} else if (settings.speed == 2) {
		movementCoolDown = 1000;
		settings.appleSpawnTime = 5;
	} else if (settings.speed == 3) {
		movementCoolDown = 50;
		settings.appleSpawnTime = 3;
	}
	frame = settings.appleSpawnTime;

	if (settings.gameMode == 1) {
		settings.wallCollision = 0;
	} else if (settings.gameMode == 2) {
		settings.wallCollision = 1;
	} else if (settings.gameMode == 3) {
		settings.wallCollision = 0;
	}

// Initialize the snake
	deleteSnakeExceptHead(&snakeHead);
	snakeHead = createNode(5, 0);
	append(&snakeHead, 4, 0);
	append(&snakeHead, 3, 0);
	append(&snakeHead, 2, 0);
	append(&snakeHead, 1, 0);

// Generate the first apple
	generateApple();

// Clear the display and reset game state
	clear();
	currentOption = NONE;
	optionsEnumerator = ABOUT;
	gameState = GAME;
	createChar(1, head[2]);

// Indicate the game is ready
	game_ready = 1;
	RTC_TimeTypeDef my_time;
	HAL_RTC_GetTime(&hrtc, &my_time, RTC_FORMAT_BIN);
	start_time.hour = my_time.Hours;
	start_time.minute = my_time.Minutes;
	start_time.second = my_time.Seconds;

	speed_increase_time = start_time;
	apple_spawn_time.hour = my_time.Hours;
	apple_spawn_time.minute = my_time.Minutes;
	apple_spawn_time.second = my_time.Seconds + 7;

	heal_despawn_time = start_time;
	heal_spawn_time = start_time;
	box_spawn_time = start_time;
	box_despawn_time = start_time;
	wall_spawn_time = start_time;

// Draw the initial apple position
	generateWalls(settings.obstacleCount, 0);
	generateApple();
}

void menu() {
	for (int i = 0; i < 4; i++) {
		carrier[i] = 0;
	}
	game_ready = 0;
	paused = 0;
	volume = 1;
	in_menu = 1;
	is_dead = 1;
	currentOption = NONE;
	optionsEnumerator = ABOUT;
	gameState = MENU;
	LiquidCrystal(GPIOD, GPIO_PIN_8, GPIO_PIN_9, GPIO_PIN_10, GPIO_PIN_11,
	GPIO_PIN_12, GPIO_PIN_13, GPIO_PIN_14);
	begin(20, 4);
	setCursor(4, 1);
	print("HONEST SNAKE");
	createChar(1, head[1]);
	setCursor(10, 2);
	write(1);
	set_music(1);

}

int to_seconds(const struct RTC_Time time) {
	return time.hour * 3600 + time.minute * 60 + time.second;
}

int calculate_time_difference(const struct RTC_Time start,
		const struct RTC_Time end) {
	int start_seconds = to_seconds(start);
	int end_seconds = to_seconds(end);
	return end_seconds - start_seconds;
}

/* USER CODE END 0 */

int main(void) {
	/* USER CODE BEGIN 1 */
	struct digit _digits[10];
	_digits[0].number = 0;
	_digits[0].anti_pattern = GPIO_PIN_12 | GPIO_PIN_13 | GPIO_PIN_14
			| GPIO_PIN_15;

	_digits[1].number = 1;
	_digits[1].pattern = GPIO_PIN_12;
	_digits[1].anti_pattern = GPIO_PIN_13 | GPIO_PIN_14 | GPIO_PIN_15;

	_digits[2].number = 2;
	_digits[2].pattern = GPIO_PIN_13;
	_digits[2].anti_pattern = GPIO_PIN_12 | GPIO_PIN_14 | GPIO_PIN_15;

	_digits[3].number = 3;
	_digits[3].pattern = GPIO_PIN_12 | GPIO_PIN_13;
	_digits[3].anti_pattern = GPIO_PIN_14 | GPIO_PIN_15;

	_digits[4].number = 4;
	_digits[4].pattern = GPIO_PIN_14;
	_digits[4].anti_pattern = GPIO_PIN_12 | GPIO_PIN_13 | GPIO_PIN_15;

	_digits[5].number = 5;
	_digits[5].pattern = GPIO_PIN_12 | GPIO_PIN_14;
	_digits[5].anti_pattern = GPIO_PIN_13 | GPIO_PIN_15;

	_digits[6].number = 6;
	_digits[6].pattern = GPIO_PIN_13 | GPIO_PIN_14;
	_digits[6].anti_pattern = GPIO_PIN_12 | GPIO_PIN_15;

	_digits[7].number = 7;
	_digits[7].pattern = GPIO_PIN_12 | GPIO_PIN_13 | GPIO_PIN_14;
	_digits[7].anti_pattern = GPIO_PIN_15;

	_digits[8].number = 8;
	_digits[8].pattern = GPIO_PIN_15;
	_digits[8].anti_pattern = GPIO_PIN_12 | GPIO_PIN_13 | GPIO_PIN_14;

	_digits[9].number = 9;
	_digits[9].pattern = GPIO_PIN_12 | GPIO_PIN_15;
	_digits[9].anti_pattern = GPIO_PIN_13 | GPIO_PIN_14;

//initialize Global digits structure
	for (int i = 0; i < 10; i++) {
		digits[i] = _digits[i];
	}

	Point negative;
	negative.x = -1;
	negative.y = -1;

	for (int i = 0; i < 6; i++) {
		wallPositions[i] = negative;
	}

	settings = (struct Settings ) { 0, 3, 1, 1, 4, 1, 10000 };
	/* USER CODE END 1 */

	/* MCU Configuration--------------------------------------------------------*/

	/* Reset of all peripherals, Initializes the Flash interface and the Systick. */
	HAL_Init();

	/* USER CODE BEGIN Init */
//Set 7-segment PINS
	led[0] = GPIO_PIN_4;
	led[1] = GPIO_PIN_5;
	led[2] = GPIO_PIN_6;
	led[3] = GPIO_PIN_7;

	/* USER CODE END Init */

	/* Configure the system clock */
	SystemClock_Config();

	/* Initialize all configured peripherals */
	MX_GPIO_Init();
	MX_I2C1_Init();
	MX_SPI1_Init();
	MX_USB_PCD_Init();
	MX_TIM1_Init();
	MX_TIM2_Init();
	MX_RTC_Init();
	MX_USART1_UART_Init();
	MX_TIM3_Init();
	/* USER CODE BEGIN 2 */
	HAL_GPIO_WritePin(GPIOC, GPIO_PIN_0, GPIO_PIN_SET);
	HAL_GPIO_WritePin(GPIOC, GPIO_PIN_1, GPIO_PIN_SET);
	HAL_GPIO_WritePin(GPIOC, GPIO_PIN_2, GPIO_PIN_SET);
	HAL_GPIO_WritePin(GPIOC, GPIO_PIN_3, GPIO_PIN_SET);
	HAL_TIM_Base_Start_IT(&htim1);
	HAL_TIM_Base_Start_IT(&htim3);
	initTonesDictionary();
	PWM_Start();
	menu();
	HAL_UART_Transmit_IT(&huart1,
			"=============\nProgram Running\n=============\n", 44);
	HAL_UART_Receive_IT(&huart1, &d, 1);
	init_display();

	RTC_TimeTypeDef my_time;
	my_time.Hours = 0;
	my_time.Minutes = 0;
	my_time.Seconds = 0;
	HAL_RTC_SetTime(&hrtc, &my_time, RTC_FORMAT_BIN);

	/* USER CODE END 2 */

	/* Infinite loop */
	while (1) {

		/* USER CODE BEGIN 3 */

//		if (in_menu) {
//			setCursor(1, 2);
//			print("press s8 to start");
//			HAL_Delay(1000);
//			setCursor(1, 2);
//			print("                 ");
//			HAL_Delay(200);
//		}
	}
	/* USER CODE END 3 */
}

void SystemClock_Config(void) {
	RCC_OscInitTypeDef RCC_OscInitStruct = { 0 };
	RCC_ClkInitTypeDef RCC_ClkInitStruct = { 0 };
	RCC_PeriphCLKInitTypeDef PeriphClkInit = { 0 };

	/** Initializes the RCC Oscillators according to the specified parameters
	 * in the RCC_OscInitTypeDef structure.
	 */
	RCC_OscInitStruct.OscillatorType = RCC_OSCILLATORTYPE_HSI
			| RCC_OSCILLATORTYPE_LSI | RCC_OSCILLATORTYPE_HSE;
	RCC_OscInitStruct.HSEState = RCC_HSE_BYPASS;
	RCC_OscInitStruct.HSEPredivValue = RCC_HSE_PREDIV_DIV1;
	RCC_OscInitStruct.HSIState = RCC_HSI_ON;
	RCC_OscInitStruct.HSICalibrationValue = RCC_HSICALIBRATION_DEFAULT;
	RCC_OscInitStruct.LSIState = RCC_LSI_ON;
	RCC_OscInitStruct.PLL.PLLState = RCC_PLL_ON;
	RCC_OscInitStruct.PLL.PLLSource = RCC_PLLSOURCE_HSE;
	RCC_OscInitStruct.PLL.PLLMUL = RCC_PLL_MUL9;
	if (HAL_RCC_OscConfig(&RCC_OscInitStruct) != HAL_OK) {
		Error_Handler();
	}

	/** Initializes the CPU, AHB and APB buses clocks
	 */
	RCC_ClkInitStruct.ClockType = RCC_CLOCKTYPE_HCLK | RCC_CLOCKTYPE_SYSCLK
			| RCC_CLOCKTYPE_PCLK1 | RCC_CLOCKTYPE_PCLK2;
	RCC_ClkInitStruct.SYSCLKSource = RCC_SYSCLKSOURCE_PLLCLK;
	RCC_ClkInitStruct.AHBCLKDivider = RCC_SYSCLK_DIV1;
	RCC_ClkInitStruct.APB1CLKDivider = RCC_HCLK_DIV2;
	RCC_ClkInitStruct.APB2CLKDivider = RCC_HCLK_DIV1;

	if (HAL_RCC_ClockConfig(&RCC_ClkInitStruct, FLASH_LATENCY_2) != HAL_OK) {
		Error_Handler();
	}
	PeriphClkInit.PeriphClockSelection = RCC_PERIPHCLK_USB
			| RCC_PERIPHCLK_USART1 | RCC_PERIPHCLK_I2C1 | RCC_PERIPHCLK_RTC
			| RCC_PERIPHCLK_TIM1;
	PeriphClkInit.Usart1ClockSelection = RCC_USART1CLKSOURCE_PCLK2;
	PeriphClkInit.I2c1ClockSelection = RCC_I2C1CLKSOURCE_HSI;
	PeriphClkInit.RTCClockSelection = RCC_RTCCLKSOURCE_LSI;
	PeriphClkInit.USBClockSelection = RCC_USBCLKSOURCE_PLL_DIV1_5;
	PeriphClkInit.Tim1ClockSelection = RCC_TIM1CLK_HCLK;
	if (HAL_RCCEx_PeriphCLKConfig(&PeriphClkInit) != HAL_OK) {
		Error_Handler();
	}
}

static void MX_I2C1_Init(void) {

	hi2c1.Instance = I2C1;
	hi2c1.Init.Timing = 0x2000090E;
	hi2c1.Init.OwnAddress1 = 0;
	hi2c1.Init.AddressingMode = I2C_ADDRESSINGMODE_7BIT;
	hi2c1.Init.DualAddressMode = I2C_DUALADDRESS_DISABLE;
	hi2c1.Init.OwnAddress2 = 0;
	hi2c1.Init.OwnAddress2Masks = I2C_OA2_NOMASK;
	hi2c1.Init.GeneralCallMode = I2C_GENERALCALL_DISABLE;
	hi2c1.Init.NoStretchMode = I2C_NOSTRETCH_DISABLE;
	if (HAL_I2C_Init(&hi2c1) != HAL_OK) {
		Error_Handler();
	}

	/** Configure Analogue filter
	 */
	if (HAL_I2CEx_ConfigAnalogFilter(&hi2c1, I2C_ANALOGFILTER_ENABLE)
			!= HAL_OK) {
		Error_Handler();
	}

	/** Configure Digital filter
	 */
	if (HAL_I2CEx_ConfigDigitalFilter(&hi2c1, 0) != HAL_OK) {
		Error_Handler();
	}

}

static void MX_RTC_Init(void) {

	RTC_TimeTypeDef sTime = { 0 };
	RTC_DateTypeDef sDate = { 0 };

	/** Initialize RTC Only
	 */
	hrtc.Instance = RTC;
	hrtc.Init.HourFormat = RTC_HOURFORMAT_24;
	hrtc.Init.AsynchPrediv = 39;
	hrtc.Init.SynchPrediv = 999;
	hrtc.Init.OutPut = RTC_OUTPUT_DISABLE;
	hrtc.Init.OutPutPolarity = RTC_OUTPUT_POLARITY_HIGH;
	hrtc.Init.OutPutType = RTC_OUTPUT_TYPE_OPENDRAIN;
	if (HAL_RTC_Init(&hrtc) != HAL_OK) {
		Error_Handler();
	}

	/** Initialize RTC and set the Time and Date
	 */
	sTime.Hours = 0x0;
	sTime.Minutes = 0x0;
	sTime.Seconds = 0x0;
	sTime.DayLightSaving = RTC_DAYLIGHTSAVING_NONE;
	sTime.StoreOperation = RTC_STOREOPERATION_RESET;
	if (HAL_RTC_SetTime(&hrtc, &sTime, RTC_FORMAT_BCD) != HAL_OK) {
		Error_Handler();
	}
	sDate.WeekDay = RTC_WEEKDAY_MONDAY;
	sDate.Month = RTC_MONTH_JULY;
	sDate.Date = 0x3;
	sDate.Year = 0x24;

	if (HAL_RTC_SetDate(&hrtc, &sDate, RTC_FORMAT_BCD) != HAL_OK) {
		Error_Handler();
	}

}

static void MX_SPI1_Init(void) {

	/* SPI1 parameter configuration*/
	hspi1.Instance = SPI1;
	hspi1.Init.Mode = SPI_MODE_MASTER;
	hspi1.Init.Direction = SPI_DIRECTION_2LINES;
	hspi1.Init.DataSize = SPI_DATASIZE_4BIT;
	hspi1.Init.CLKPolarity = SPI_POLARITY_LOW;
	hspi1.Init.CLKPhase = SPI_PHASE_1EDGE;
	hspi1.Init.NSS = SPI_NSS_SOFT;
	hspi1.Init.BaudRatePrescaler = SPI_BAUDRATEPRESCALER_4;
	hspi1.Init.FirstBit = SPI_FIRSTBIT_MSB;
	hspi1.Init.TIMode = SPI_TIMODE_DISABLE;
	hspi1.Init.CRCCalculation = SPI_CRCCALCULATION_DISABLE;
	hspi1.Init.CRCPolynomial = 7;
	hspi1.Init.CRCLength = SPI_CRC_LENGTH_DATASIZE;
	hspi1.Init.NSSPMode = SPI_NSS_PULSE_ENABLE;
	if (HAL_SPI_Init(&hspi1) != HAL_OK) {
		Error_Handler();
	}

}

static void MX_TIM1_Init(void) {

	TIM_ClockConfigTypeDef sClockSourceConfig = { 0 };
	TIM_MasterConfigTypeDef sMasterConfig = { 0 };

	htim1.Instance = TIM1;
	htim1.Init.Prescaler = 4799;
	htim1.Init.CounterMode = TIM_COUNTERMODE_UP;
	htim1.Init.Period = 1;
	htim1.Init.ClockDivision = TIM_CLOCKDIVISION_DIV1;
	htim1.Init.RepetitionCounter = 0;
	htim1.Init.AutoReloadPreload = TIM_AUTORELOAD_PRELOAD_DISABLE;
	if (HAL_TIM_Base_Init(&htim1) != HAL_OK) {
		Error_Handler();
	}
	sClockSourceConfig.ClockSource = TIM_CLOCKSOURCE_INTERNAL;
	if (HAL_TIM_ConfigClockSource(&htim1, &sClockSourceConfig) != HAL_OK) {
		Error_Handler();
	}
	sMasterConfig.MasterOutputTrigger = TIM_TRGO_RESET;
	sMasterConfig.MasterOutputTrigger2 = TIM_TRGO2_RESET;
	sMasterConfig.MasterSlaveMode = TIM_MASTERSLAVEMODE_DISABLE;
	if (HAL_TIMEx_MasterConfigSynchronization(&htim1, &sMasterConfig)
			!= HAL_OK) {
		Error_Handler();
	}

}

static void MX_TIM2_Init(void) {

	TIM_ClockConfigTypeDef sClockSourceConfig = { 0 };
	TIM_MasterConfigTypeDef sMasterConfig = { 0 };
	TIM_OC_InitTypeDef sConfigOC = { 0 };

	htim2.Instance = TIM2;
	htim2.Init.Prescaler = 0;
	htim2.Init.CounterMode = TIM_COUNTERMODE_UP;
	htim2.Init.Period = 4294967295;
	htim2.Init.ClockDivision = TIM_CLOCKDIVISION_DIV1;
	htim2.Init.AutoReloadPreload = TIM_AUTORELOAD_PRELOAD_DISABLE;
	if (HAL_TIM_Base_Init(&htim2) != HAL_OK) {
		Error_Handler();
	}
	sClockSourceConfig.ClockSource = TIM_CLOCKSOURCE_INTERNAL;
	if (HAL_TIM_ConfigClockSource(&htim2, &sClockSourceConfig) != HAL_OK) {
		Error_Handler();
	}
	if (HAL_TIM_PWM_Init(&htim2) != HAL_OK) {
		Error_Handler();
	}
	sMasterConfig.MasterOutputTrigger = TIM_TRGO_RESET;
	sMasterConfig.MasterSlaveMode = TIM_MASTERSLAVEMODE_DISABLE;
	if (HAL_TIMEx_MasterConfigSynchronization(&htim2, &sMasterConfig)
			!= HAL_OK) {
		Error_Handler();
	}
	sConfigOC.OCMode = TIM_OCMODE_PWM1;
	sConfigOC.Pulse = 0;
	sConfigOC.OCPolarity = TIM_OCPOLARITY_HIGH;
	sConfigOC.OCFastMode = TIM_OCFAST_DISABLE;
	if (HAL_TIM_PWM_ConfigChannel(&htim2, &sConfigOC, TIM_CHANNEL_1)
			!= HAL_OK) {
		Error_Handler();
	}
	HAL_TIM_MspPostInit(&htim2);

}

static void MX_TIM3_Init(void) {

	TIM_ClockConfigTypeDef sClockSourceConfig = { 0 };
	TIM_MasterConfigTypeDef sMasterConfig = { 0 };

	htim3.Instance = TIM3;
	htim3.Init.Prescaler = 4799;
	htim3.Init.CounterMode = TIM_COUNTERMODE_UP;
	htim3.Init.Period = 5;
	htim3.Init.ClockDivision = TIM_CLOCKDIVISION_DIV1;
	htim3.Init.AutoReloadPreload = TIM_AUTORELOAD_PRELOAD_DISABLE;
	if (HAL_TIM_Base_Init(&htim3) != HAL_OK) {
		Error_Handler();
	}
	sClockSourceConfig.ClockSource = TIM_CLOCKSOURCE_INTERNAL;
	if (HAL_TIM_ConfigClockSource(&htim3, &sClockSourceConfig) != HAL_OK) {
		Error_Handler();
	}
	sMasterConfig.MasterOutputTrigger = TIM_TRGO_RESET;
	sMasterConfig.MasterSlaveMode = TIM_MASTERSLAVEMODE_DISABLE;
	if (HAL_TIMEx_MasterConfigSynchronization(&htim3, &sMasterConfig)
			!= HAL_OK) {
		Error_Handler();
	}

}

static void MX_USART1_UART_Init(void) {

	huart1.Instance = USART1;
	huart1.Init.BaudRate = 115200;
	huart1.Init.WordLength = UART_WORDLENGTH_8B;
	huart1.Init.StopBits = UART_STOPBITS_1;
	huart1.Init.Parity = UART_PARITY_NONE;
	huart1.Init.Mode = UART_MODE_TX_RX;
	huart1.Init.HwFlowCtl = UART_HWCONTROL_NONE;
	huart1.Init.OverSampling = UART_OVERSAMPLING_16;
	huart1.Init.OneBitSampling = UART_ONE_BIT_SAMPLE_DISABLE;
	huart1.AdvancedInit.AdvFeatureInit = UART_ADVFEATURE_NO_INIT;
	if (HAL_UART_Init(&huart1) != HAL_OK) {
		Error_Handler();
	}

}

static void MX_USB_PCD_Init(void) {

	hpcd_USB_FS.Instance = USB;
	hpcd_USB_FS.Init.dev_endpoints = 8;
	hpcd_USB_FS.Init.speed = PCD_SPEED_FULL;
	hpcd_USB_FS.Init.phy_itface = PCD_PHY_EMBEDDED;
	hpcd_USB_FS.Init.low_power_enable = DISABLE;
	hpcd_USB_FS.Init.battery_charging_enable = DISABLE;
	if (HAL_PCD_Init(&hpcd_USB_FS) != HAL_OK) {
		Error_Handler();
	}

}

static void MX_GPIO_Init(void) {
	GPIO_InitTypeDef GPIO_InitStruct = { 0 };

	/* GPIO Ports Clock Enable */
	__HAL_RCC_GPIOE_CLK_ENABLE();
	__HAL_RCC_GPIOC_CLK_ENABLE();
	__HAL_RCC_GPIOF_CLK_ENABLE();
	__HAL_RCC_GPIOA_CLK_ENABLE();
	__HAL_RCC_GPIOB_CLK_ENABLE();
	__HAL_RCC_GPIOD_CLK_ENABLE();

	/*Configure GPIO pin Output Level */
	HAL_GPIO_WritePin(CS_I2C_SPI_GPIO_Port, CS_I2C_SPI_Pin, GPIO_PIN_RESET);

	/*Configure GPIO pin Output Level */
	HAL_GPIO_WritePin(GPIOC, GPIO_PIN_0 | GPIO_PIN_1 | GPIO_PIN_2 | GPIO_PIN_3,
			GPIO_PIN_RESET);

	/*Configure GPIO pin Output Level */
	HAL_GPIO_WritePin(GPIOB,
	GPIO_PIN_10 | GPIO_PIN_12 | GPIO_PIN_13 | GPIO_PIN_14 | GPIO_PIN_15,
			GPIO_PIN_RESET);

	/*Configure GPIO pin Output Level */
	HAL_GPIO_WritePin(GPIOD,
			GPIO_PIN_8 | GPIO_PIN_9 | GPIO_PIN_10 | GPIO_PIN_11 | GPIO_PIN_12
					| GPIO_PIN_13 | GPIO_PIN_14 | GPIO_PIN_15 | GPIO_PIN_4
					| GPIO_PIN_5 | GPIO_PIN_6 | GPIO_PIN_7, GPIO_PIN_RESET);

	/*Configure GPIO pin : CS_I2C_SPI_Pin */
	GPIO_InitStruct.Pin = CS_I2C_SPI_Pin;
	GPIO_InitStruct.Mode = GPIO_MODE_OUTPUT_PP;
	GPIO_InitStruct.Pull = GPIO_NOPULL;
	GPIO_InitStruct.Speed = GPIO_SPEED_FREQ_LOW;
	HAL_GPIO_Init(CS_I2C_SPI_GPIO_Port, &GPIO_InitStruct);

	/*Configure GPIO pins : MEMS_INT3_Pin MEMS_INT4_Pin */
	GPIO_InitStruct.Pin = MEMS_INT3_Pin | MEMS_INT4_Pin;
	GPIO_InitStruct.Mode = GPIO_MODE_EVT_RISING;
	GPIO_InitStruct.Pull = GPIO_NOPULL;
	HAL_GPIO_Init(GPIOE, &GPIO_InitStruct);

	/*Configure GPIO pins : PC0 PC1 PC2 PC3 */
	GPIO_InitStruct.Pin = GPIO_PIN_0 | GPIO_PIN_1 | GPIO_PIN_2 | GPIO_PIN_3;
	GPIO_InitStruct.Mode = GPIO_MODE_OUTPUT_PP;
	GPIO_InitStruct.Pull = GPIO_NOPULL;
	GPIO_InitStruct.Speed = GPIO_SPEED_FREQ_LOW;
	HAL_GPIO_Init(GPIOC, &GPIO_InitStruct);

	/*Configure GPIO pin : B1_Pin */
	GPIO_InitStruct.Pin = B1_Pin;
	GPIO_InitStruct.Mode = GPIO_MODE_INPUT;
	GPIO_InitStruct.Pull = GPIO_NOPULL;
	HAL_GPIO_Init(B1_GPIO_Port, &GPIO_InitStruct);

	/*Configure GPIO pins : PB10 PB12 PB13 PB14
	 PB15 */
	GPIO_InitStruct.Pin = GPIO_PIN_10 | GPIO_PIN_12 | GPIO_PIN_13 | GPIO_PIN_14
			| GPIO_PIN_15;
	GPIO_InitStruct.Mode = GPIO_MODE_OUTPUT_PP;
	GPIO_InitStruct.Pull = GPIO_NOPULL;
	GPIO_InitStruct.Speed = GPIO_SPEED_FREQ_LOW;
	HAL_GPIO_Init(GPIOB, &GPIO_InitStruct);

	/*Configure GPIO pins : PD8 PD9 PD10 PD11
	 PD12 PD13 PD14 PD15
	 PD4 PD5 PD6 PD7 */
	GPIO_InitStruct.Pin = GPIO_PIN_8 | GPIO_PIN_9 | GPIO_PIN_10 | GPIO_PIN_11
			| GPIO_PIN_12 | GPIO_PIN_13 | GPIO_PIN_14 | GPIO_PIN_15 | GPIO_PIN_4
			| GPIO_PIN_5 | GPIO_PIN_6 | GPIO_PIN_7;
	GPIO_InitStruct.Mode = GPIO_MODE_OUTPUT_PP;
	GPIO_InitStruct.Pull = GPIO_NOPULL;
	GPIO_InitStruct.Speed = GPIO_SPEED_FREQ_LOW;
	HAL_GPIO_Init(GPIOD, &GPIO_InitStruct);

	/*Configure GPIO pins : PD0 PD1 PD2 PD3 */
	GPIO_InitStruct.Pin = GPIO_PIN_0 | GPIO_PIN_1 | GPIO_PIN_2 | GPIO_PIN_3;
	GPIO_InitStruct.Mode = GPIO_MODE_IT_RISING;
	GPIO_InitStruct.Pull = GPIO_PULLDOWN;
	HAL_GPIO_Init(GPIOD, &GPIO_InitStruct);

	/* EXTI interrupt init*/
	HAL_NVIC_SetPriority(EXTI0_IRQn, 1, 0);
	HAL_NVIC_EnableIRQ(EXTI0_IRQn);

	HAL_NVIC_SetPriority(EXTI1_IRQn, 1, 0);
	HAL_NVIC_EnableIRQ(EXTI1_IRQn);

	HAL_NVIC_SetPriority(EXTI2_TSC_IRQn, 1, 0);
	HAL_NVIC_EnableIRQ(EXTI2_TSC_IRQn);

	HAL_NVIC_SetPriority(EXTI3_IRQn, 1, 0);
	HAL_NVIC_EnableIRQ(EXTI3_IRQn);

}

void Error_Handler(void) {
	__disable_irq();
	while (1) {
	}
}
